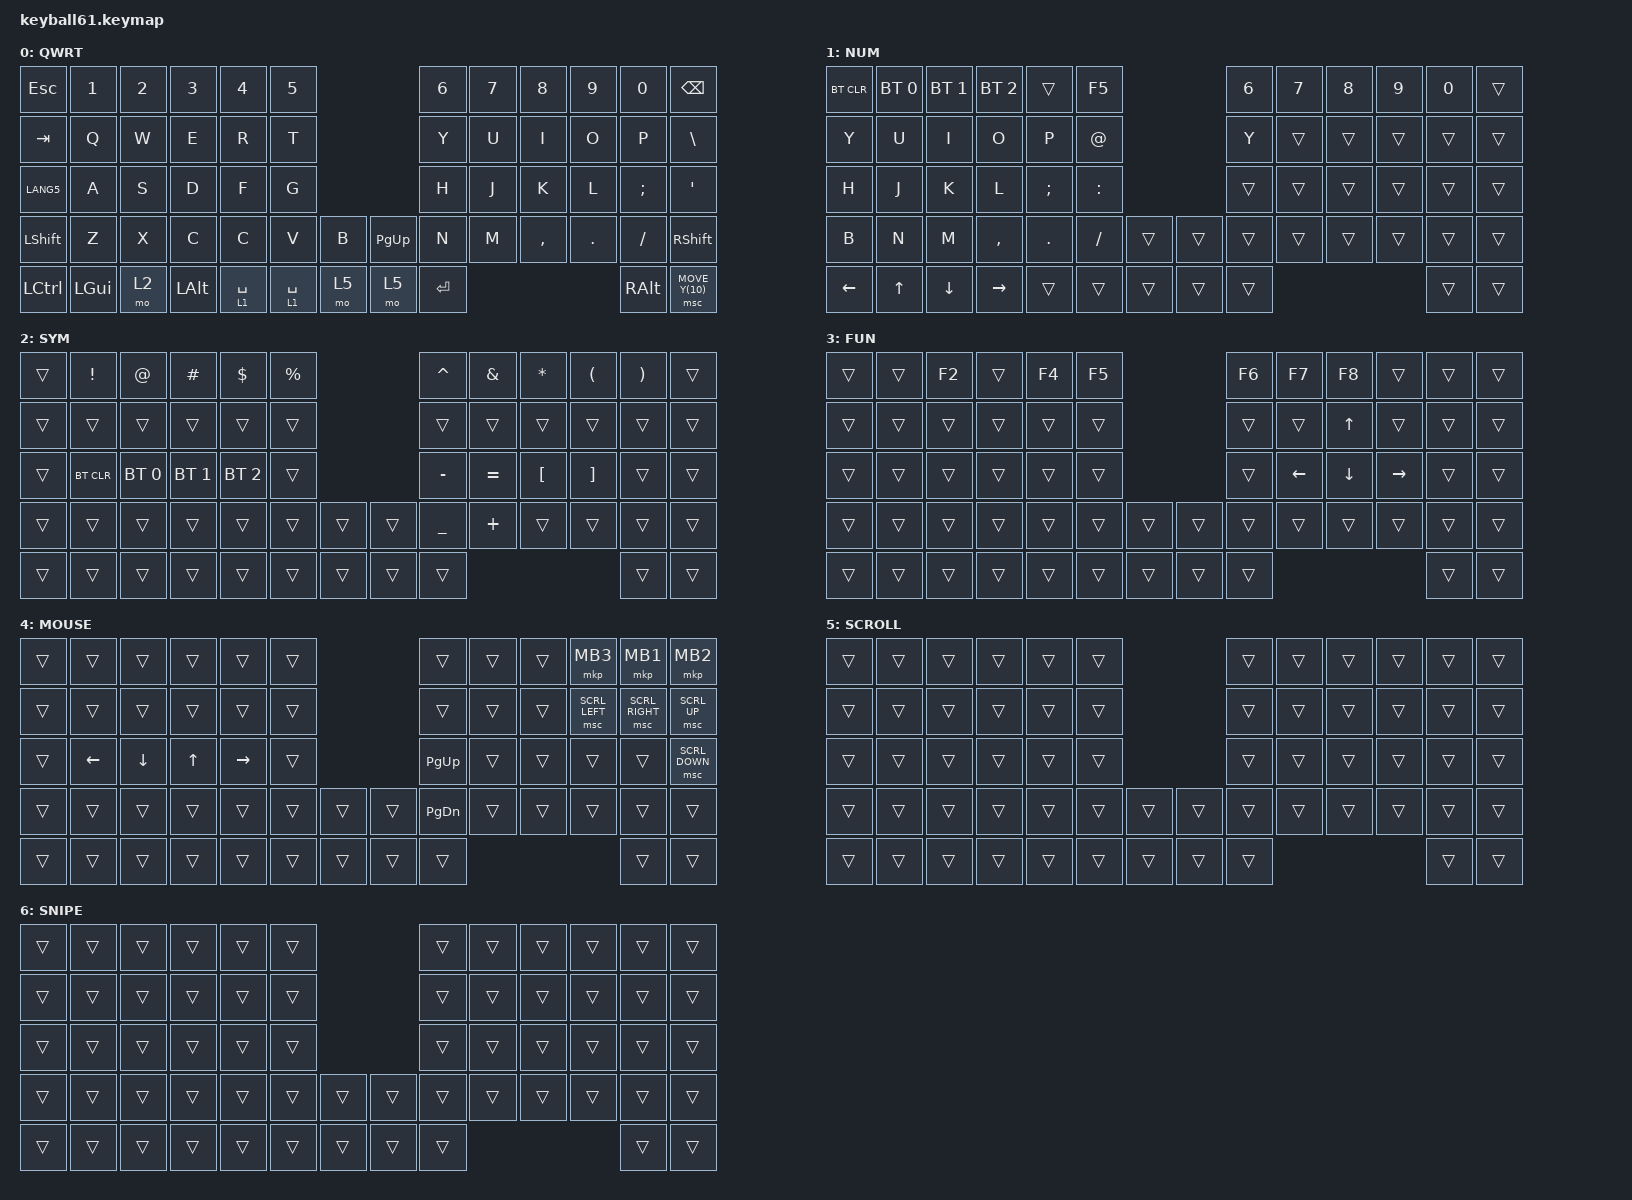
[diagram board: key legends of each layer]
#define DEFAULT 0
#define SYM     1
#define FUN     2
#define MOUSE   3
#define SCROLL  4
#define SNIPE   5

#include <behaviors/mouse_keys.dtsi>
#include <dt-bindings/zmk/mouse.h>
#include <behaviors.dtsi>
#include <dt-bindings/zmk/bt.h>
#include <dt-bindings/zmk/keys.h>
#include <dt-bindings/zmk/pointing.h>

&lt {
    tapping-term-ms = <240>;
    flavor = "balanced";
    quick-tap-ms = <150>;
};

&mt {
    tapping-term-ms = <200>;
    flavor = "tap-preferred";
    quick-tap-ms = <150>;
};

/ {
    keymap {
        compatible = "zmk,keymap";

        default_layer {
            label = "QWRT";
            bindings = <
&kp ESC           &kp N1        &kp N2  &kp N3        &kp N4       &kp N5                           &kp N6     &kp N7  &kp N8     &kp N9   &kp N0         &kp BSPC
&kp TAB           &kp Q         &kp W   &kp E         &kp R        &kp T                            &kp Y      &kp U   &kp I      &kp O    &kp P          &kp BACKSLASH
&kp LANG5         &kp A         &kp S   &kp D         &kp F        &kp G                            &kp H      &kp J   &kp K      &kp L    &kp SEMI       &kp SQT
&kp LEFT_SHIFT    &kp Z         &kp X   &kp C         &kp C        &kp V        &kp B  &kp PAGE_UP  &kp N      &kp M   &kp COMMA  &kp DOT  &kp FSLH       &kp RIGHT_SHIFT
&kp LEFT_CONTROL  &kp LEFT_GUI  &mo 2   &kp LEFT_ALT  &lt 1 SPACE  &lt 1 SPACE  &mo 5  &mo 5        &kp ENTER                              &kp RIGHT_ALT  &msc MOVE_Y(10)
            >;
        };

        number_layer {
            bindings = <
&bt BT_CLR  &bt BT_SEL 0  &bt BT_SEL 1    &bt BT_SEL 2  &trans         &kp F5                       &kp N6  &kp N7  &kp N8  &kp N9  &kp N0  &trans
&kp Y       &kp U         &kp I           &kp O         &kp P          &kp AT_SIGN                  &kp Y   &trans  &trans  &trans  &trans  &trans
&kp H       &kp J         &kp K           &kp L         &kp SEMICOLON  &kp COLON                    &trans  &trans  &trans  &trans  &trans  &trans
&kp B       &kp N         &kp M           &kp COMMA     &kp PERIOD     &kp SLASH    &trans  &trans  &trans  &trans  &trans  &trans  &trans  &trans
&kp LEFT    &kp UP_ARROW  &kp DOWN_ARROW  &kp RIGHT     &trans         &trans       &trans  &trans  &trans                          &trans  &trans
            >;

            label = "NUM";
        };

        symbol_layer {
            label = "SYM";
            bindings = <
&trans  &kp EXCLAMATION  &kp AT_SIGN   &kp HASH      &kp DOLLAR    &kp PERCENT                  &kp CARET       &kp AMPERSAND  &kp ASTERISK      &kp LEFT_PARENTHESIS  &kp RIGHT_PARENTHESIS  &trans
&trans  &trans           &trans        &trans        &trans        &trans                       &trans          &trans         &trans            &trans                &trans                 &trans
&trans  &bt BT_CLR       &bt BT_SEL 0  &bt BT_SEL 1  &bt BT_SEL 2  &trans                       &kp MINUS       &kp EQUAL      &kp LEFT_BRACKET  &kp RIGHT_BRACKET     &trans                 &trans
&trans  &trans           &trans        &trans        &trans        &trans       &trans  &trans  &kp UNDERSCORE  &kp PLUS       &trans            &trans                &trans                 &trans
&trans  &trans           &trans        &trans        &trans        &trans       &trans  &trans  &trans                                                                 &trans                 &trans
            >;
        };

        function_layer {
            label = "FUN";
            bindings = <
&trans  &trans  &kp F2  &trans  &kp F4  &kp F5                  &kp F6  &kp F7    &kp F8    &trans     &trans  &trans
&trans  &trans  &trans  &trans  &trans  &trans                  &trans  &trans    &kp UP    &trans     &trans  &trans
&trans  &trans  &trans  &trans  &trans  &trans                  &trans  &kp LEFT  &kp DOWN  &kp RIGHT  &trans  &trans
&trans  &trans  &trans  &trans  &trans  &trans  &trans  &trans  &trans  &trans    &trans    &trans     &trans  &trans
&trans  &trans  &trans  &trans  &trans  &trans  &trans  &trans  &trans                                 &trans  &trans
            >;
        };

        mouse_layer {
            label = "MOUSE";
            bindings = <
&trans  &trans    &trans    &trans  &trans     &trans                  &trans         &trans  &trans  &mkp MB3        &mkp MB1         &mkp MB2
&trans  &trans    &trans    &trans  &trans     &trans                  &trans         &trans  &trans  &msc SCRL_LEFT  &msc SCRL_RIGHT  &msc SCRL_UP
&trans  &kp LEFT  &kp DOWN  &kp UP  &kp RIGHT  &trans                  &kp PAGE_UP    &trans  &trans  &trans          &trans           &msc SCRL_DOWN
&trans  &trans    &trans    &trans  &trans     &trans  &trans  &trans  &kp PAGE_DOWN  &trans  &trans  &trans          &trans           &trans
&trans  &trans    &trans    &trans  &trans     &trans  &trans  &trans  &trans                                         &trans           &trans
            >;
        };

        scroll_layer {
            label = "SCROLL";
            bindings = <
&trans  &trans  &trans  &trans  &trans  &trans                  &trans  &trans  &trans  &trans  &trans  &trans
&trans  &trans  &trans  &trans  &trans  &trans                  &trans  &trans  &trans  &trans  &trans  &trans
&trans  &trans  &trans  &trans  &trans  &trans                  &trans  &trans  &trans  &trans  &trans  &trans
&trans  &trans  &trans  &trans  &trans  &trans  &trans  &trans  &trans  &trans  &trans  &trans  &trans  &trans
&trans  &trans  &trans  &trans  &trans  &trans  &trans  &trans  &trans                          &trans  &trans
            >;
        };

        snipe_layer {
            label = "SNIPE";
            bindings = <
&trans  &trans  &trans  &trans  &trans  &trans                  &trans  &trans  &trans  &trans  &trans  &trans
&trans  &trans  &trans  &trans  &trans  &trans                  &trans  &trans  &trans  &trans  &trans  &trans
&trans  &trans  &trans  &trans  &trans  &trans                  &trans  &trans  &trans  &trans  &trans  &trans
&trans  &trans  &trans  &trans  &trans  &trans  &trans  &trans  &trans  &trans  &trans  &trans  &trans  &trans
&trans  &trans  &trans  &trans  &trans  &trans  &trans  &trans  &trans                          &trans  &trans
            >;
        };
    };
};
